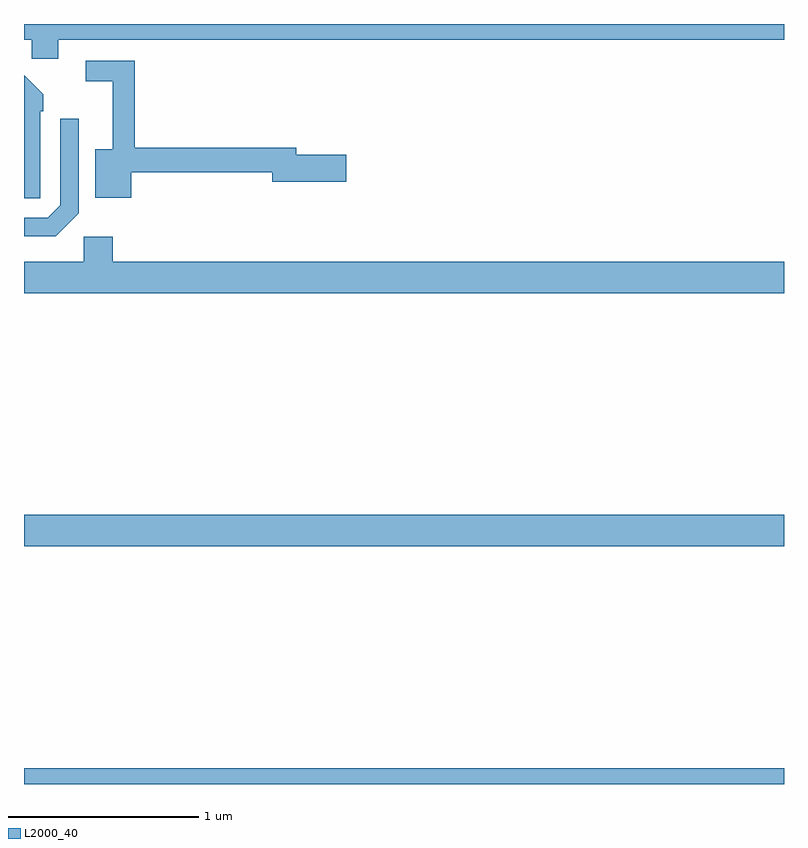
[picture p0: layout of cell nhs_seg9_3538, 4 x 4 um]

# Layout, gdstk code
import gdstk
lib = gdstk.Library(unit=1e-6, precision=1e-09)
def R(c, l, rs):  # rectangles x0, y0, x1, y1
    for r in rs: c.add(gdstk.rectangle(r[:2], r[2:], *l))
def P(c, l, *ps):  # polygons
    for p in ps: c.add(gdstk.Polygon(p, *l))
L2000_40 = (2000, 40)

nhs_seg9_3538 = lib.new_cell('nhs_seg9_3538')
R(nhs_seg9_3538, L2000_40, [(313,1196.5,317,1196.584), (313,1197.752,317,1197.916)])
P(nhs_seg9_3538, L2000_40, [(313.18,1200.416),(317,1200.416),(317,1200.5),(313,1200.5),(313,1200.416),(313.041,1200.416),(313.041,1200.318),(313.18,1200.318)],
  [(313.564,1199.721),(314.306,1199.721),(314.306,1199.671),(314.695,1199.671),(314.695,1199.813),(314.434,1199.813),(314.434,1199.849),(313.583,1199.849),(313.583,1200.306),(313.326,1200.306),(313.326,1200.198),(313.466,1200.198),(313.466,1199.842),(313.376,1199.842),(313.376,1199.585),(313.564,1199.585)],
  [(313.086,1200.041),(313.101,1200.041),(313.101,1200.129),(313,1200.23),(313,1199.583),(313.086,1199.583)],
  [(313.287,1199.505),(313.287,1200.001),(313.191,1200.001),(313.191,1199.547),(313.125,1199.481),(313,1199.481),(313,1199.384),(313.166,1199.384)],
  [(317,1199.248),(313.466,1199.248),(313.466,1199.38),(313.314,1199.38),(313.314,1199.248),(313,1199.248),(313,1199.084),(317,1199.084)])

lib.write_gds('nhs_seg9_3538.gds')
